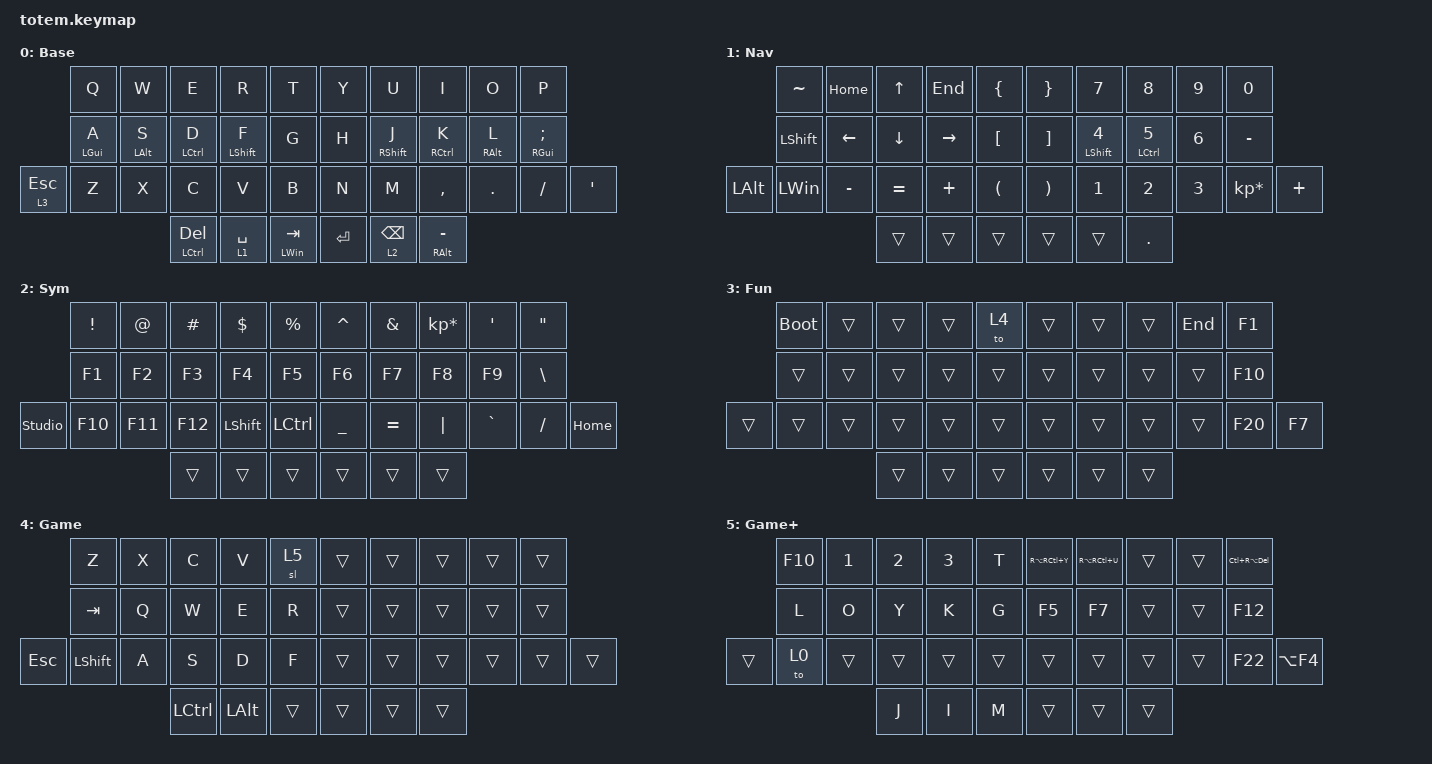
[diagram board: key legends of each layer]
//
//                                                        ▀▀▀▀▀     ▀▀▀▀▀          ▀▀█▀▀
//                                                        ▄▀▀▀▄  ▄  ▄▀▀▀▄  ▄  ▄▀▀▀▄  █  ▄▀▀▀▄
//                                                        █   █  █  █   █  █  █   █  █  █   █
//                                                         ▀▀▀   █   ▀▀▀   █   ▀▀▀   ▀   ▀▀▀
//                                                               █      ▄▄▄█▄▄▄    █   █  
//                                                               ▀      █  █  █     █▄█
//                                                             ▀▀▀▀▀    █  █  █      ▀
//                                                                      ▀  ▀  ▀
//
// ▄▄▄▄▄▄▄▄▄▄▄▄▄▄▄▄▄▄▄▄▄▄▄▄▄▄▄▄▄▄▄▄▄▄▄▄▄▄▄▄▄▄▄▄▄▄▄▄▄▄▄▄▄▄▄▄▄▄▄▄▄▄▄▄▄▄▄▄▄▄▄▄▄▄▄▄▄▄▄▄▄▄▄▄▄▄▄▄▄▄▄▄▄▄▄▄▄▄▄▄▄▄▄▄▄▄▄▄▄▄▄▄▄▄▄▄▄▄▄▄▄▄▄▄▄▄▄▄▄▄▄▄▄▄▄▄▄▄▄▄▄▄▄▄▄▄▄▄▄

#include <behaviors.dtsi>
#include <dt-bindings/zmk/keys.h>

#define Base        0
#define Nav         1
#define Sym         2
#define Fun         3
#define Game        4
#define Gameplus    5

&mt {
    quick-tap-ms = <100>;
    global-quick-tap;
    flavor = "tap-preferred";
    tapping-term-ms = <170>;
};

&lt {
    tapping-term-ms = <240>;
    flavor = "balanced";
    quick-tap-ms = <150>;
};

/ {
    behaviors {
        hm: homerow_mods {
            compatible = "zmk,behavior-hold-tap";
            label = "HOMEROW_MODS";
            #binding-cells = <2>;
            flavor = "tap-preferred";
            tapping-term-ms = <150>;
            quick-tap-ms = <75>;
            global-quick-tap;
            bindings = <&kp>, <&kp>;
        };
    };

    combos { compatible = "zmk,combos"; };

    keymap {
        compatible = "zmk,keymap";

        Base {
            display-name = "Base";
            bindings = <
              &kp Q       &kp W       &kp E          &kp R         &kp T               &kp Y    &kp U        &kp I                &kp O       &kp P
              &hm LGUI A  &hm LALT S  &hm LCTRL D    &hm LSHIFT F  &kp G               &kp H    &hm RSHFT J  &hm RCTRL K          &hm RALT L  &hm RGUI SEMICOLON
&lt 3 ESCAPE  &kp Z       &kp X       &kp C          &kp V         &kp B               &kp N    &kp M        &kp COMMA            &kp DOT     &kp SLASH           &kp APOSTROPHE
                                      &mt LCTRL DEL  &lt 1 SPACE   &mt LEFT_WIN TAB    &kp RET  &lt 2 BSPC   &mt RIGHT_ALT MINUS
            >;
        };

        Nav {
            display-name = "Nav";
            bindings = <
              &kp TILDE       &kp HOME   &kp UP_ARROW  &kp END    &kp LBRC    &kp RBRC  &kp NUMBER_7             &kp NUMBER_8        &kp NUMBER_9  &kp NUMBER_0
              &kp LEFT_SHIFT  &kp LEFT   &kp DOWN      &kp RIGHT  &kp LBKT    &kp RBKT  &mt LEFT_SHIFT NUMBER_4  &mt LCTRL NUMBER_5  &kp NUMBER_6  &kp MINUS
&kp LEFT_ALT  &kp LEFT_WIN    &kp MINUS  &kp EQUAL     &kp PLUS   &kp LPAR    &kp RPAR  &kp NUMBER_1             &kp NUMBER_2        &kp NUMBER_3  &kp KP_MULTIPLY  &kp PLUS
                                         &trans        &trans     &trans      &trans    &trans                   &kp DOT
            >;
        };

        Sym {
            display-name = "Sym";
            bindings = <
                &kp EXCL  &kp AT   &kp HASH  &kp DOLLAR      &kp PERCENT    &kp CARET  &kp AMPERSAND  &kp KP_ASTERISK  &kp SQT    &kp DQT
                &kp F1    &kp F2   &kp F3    &kp F4          &kp F5         &kp F6     &kp F7         &kp F8           &kp F9     &kp BACKSLASH
&studio_unlock  &kp F10   &kp F11  &kp F12   &kp LEFT_SHIFT  &kp LCTRL      &kp UNDER  &kp EQUAL      &kp PIPE         &kp GRAVE  &kp SLASH      &kp HOME
                                   &trans    &trans          &trans         &trans     &trans         &trans
            >;
        };

        Fun {
            display-name = "Fun";
            bindings = <
        &bootloader  &trans  &trans  &trans  &to 4     &trans  &trans  &trans  &kp END  &kp F1
        &trans       &trans  &trans  &trans  &trans    &trans  &trans  &trans  &trans   &kp F10
&trans  &trans       &trans  &trans  &trans  &trans    &trans  &trans  &trans  &trans   &kp F20  &kp F7
                             &trans  &trans  &trans    &trans  &trans  &trans
            >;
        };

        Gaming {
            display-name = "Game";
            bindings = <
            &kp Z           &kp X  &kp C      &kp V         &sl 5     &trans  &trans  &trans  &trans  &trans
            &kp TAB         &kp Q  &kp W      &kp E         &kp R     &trans  &trans  &trans  &trans  &trans
&kp ESCAPE  &kp LEFT_SHIFT  &kp A  &kp S      &kp D         &kp F     &trans  &trans  &trans  &trans  &trans  &trans
                                   &kp LCTRL  &kp LEFT_ALT  &trans    &trans  &trans  &trans
            >;
        };

        Gaming+ {
            display-name = "Game+";
            bindings = <
        &kp F10  &kp NUMBER_1  &kp NUMBER_2  &kp NUMBER_3  &kp T     &kp RA(RC(Y))  &kp RA(RC(U))  &trans  &trans  &kp LC(RA(DEL))
        &kp L    &kp O         &kp Y         &kp K         &kp G     &kp F5         &kp F7         &trans  &trans  &kp F12
&trans  &to 0    &trans        &trans        &trans        &trans    &trans         &trans         &trans  &trans  &kp F22          &kp LA(F4)
                               &kp J         &kp I         &kp M     &trans         &trans         &trans
            >;
        };
    };
};

// test build trigger
